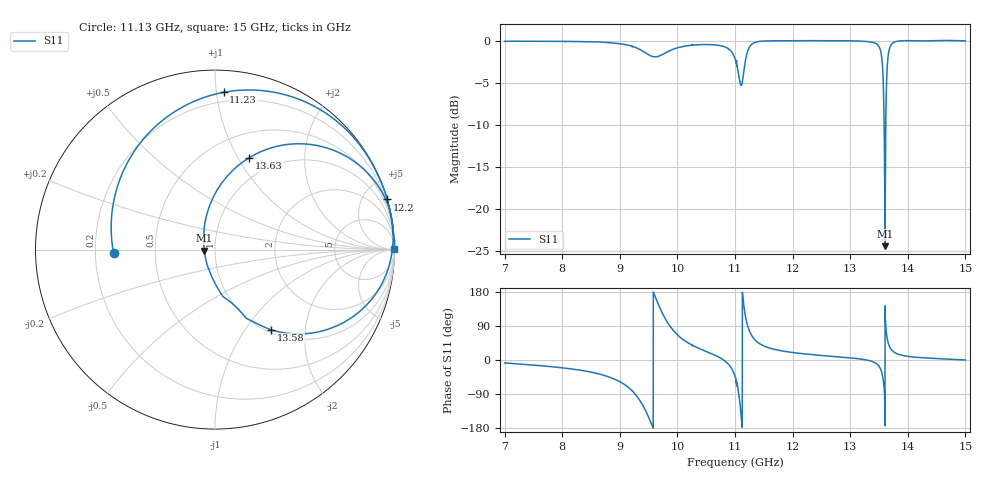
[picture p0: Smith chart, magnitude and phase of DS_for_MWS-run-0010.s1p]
! TOUCHSTONE file generated by CST DESIGN STUDIO
! Date and time: Mon Feb 10 16:44:18 2025
! Project name: C:\Work\MatlabApps\UnitCellType2OptimizationMatlab\CST\unitcell.cst
! Tree item: Tasks\Sweep1\SPara1\S-Parameters
! Header version: 2024
! Port assignment regex: !\s*Touchstone port\s*([0-9]+)\s*=\s*(CST MWS port|CST DES external port|CST DES block port)\s*(.+)\s* \(\"(.*)\"\)(\s*mode\s*([0-9]+))?.*
! Touchstone port assignment:
! Touchstone port 1 = CST DES external port 1 ("")
# GHz S MA R 50
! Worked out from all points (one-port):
!   4001 points, 7 GHz to 15 GHz, reference 50 ohm
!   lowest |S11| = -24.5 dB at 13.6 GHz (marker M1), VSWR 1.13, Z = 44.4 - j0.545 ohm
!   |S11| at or under -10 dB: 13.58932 GHz to 13.6169 GHz (27.58 MHz wide, 0.203 % of centre)
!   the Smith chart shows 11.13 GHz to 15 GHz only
!   S11 on the Smith chart (normalised r, x): 11.13 GHz: 0.28, -0.02; 11.23 GHz: 0.14, +1.05; 12.2 GHz: -0.00, +7.02; 13.58 GHz: 1.04, -1.33; 13.63 GHz: 0.76, +1.11; 15 GHz: open
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7  0.9903 -7.6
8  0.9904 -20.6
9  0.9579 -57.2
9.342  0.8881 -105.3
9.57  0.8041 -176.1
9.77  0.8366 114.4
10  0.9061 66.5
10.652  0.9428 12.6
10.888  0.8934 -11.4
11  0.7823 -42.3
11.066  0.6187 -89.2
11.126  0.5652 -178.0
11.178  0.7526 118.2
11.226  0.8778 86.8
11.312  0.9623 59.5
11.436  0.9906 42.3
12  0.9996 19.8
12.2  1 16.2
13  0.998 5.6
13.466  0.9518 -11.0
13.526  0.8738 -23.5
13.576  0.545 -55.1
13.604  0.0598 -174.1
13.63  0.5454 69.7
13.664  0.8368 42.9
13.728  0.9599 24.9
14  0.9993 9.7
15  0.9967 0.2
